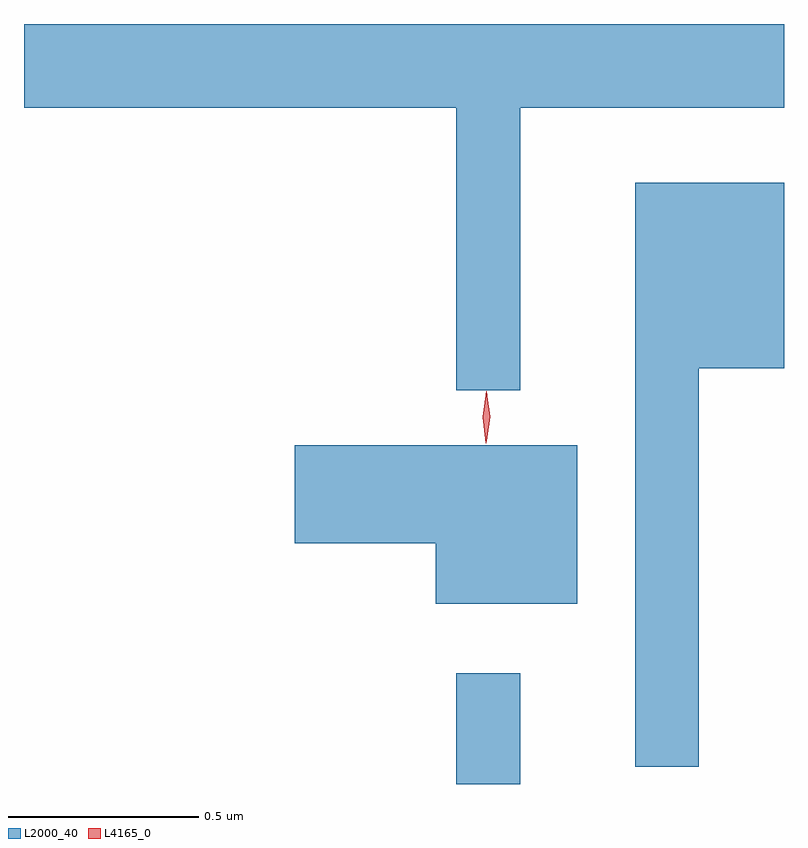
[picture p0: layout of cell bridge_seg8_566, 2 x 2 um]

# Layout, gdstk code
import gdstk
lib = gdstk.Library(unit=1e-6, precision=1e-09)
def R(c, l, rs):  # rectangles x0, y0, x1, y1
    for r in rs: c.add(gdstk.rectangle(r[:2], r[2:], *l))
def P(c, l, *ps):  # polygons
    for p in ps: c.add(gdstk.Polygon(p, *l))
L2000_40 = (2000, 40)
L4165_0 = (4165, 0)

bridge_seg8_566 = lib.new_cell('bridge_seg8_566')
R(bridge_seg8_566, L2000_40, [(449.931,1850.177,450.099,1850.468)])
P(bridge_seg8_566, L2000_40, [(450.099,1851.956),(450.793,1851.956),(450.793,1852.177),(448.793,1852.177),(448.793,1851.956),(449.931,1851.956),(449.931,1851.213),(450.099,1851.213)],
  [(450.569,1851.271),(450.793,1851.271),(450.793,1851.759),(450.401,1851.759),(450.401,1850.223),(450.569,1850.223)],
  [(450.249,1851.069),(449.506,1851.069),(449.506,1850.811),(449.876,1850.811),(449.876,1850.651),(450.249,1850.651)])
P(bridge_seg8_566, L4165_0, [(450.01,1851.08),(450.01,1851.08),(450,1851.144),(450.01,1851.206),(450.01,1851.207),(450.011,1851.206),(450.02,1851.144),(450.011,1851.08)],
  [(450.008,1851.074),(450,1851.142),(450.01,1851.21),(450.01,1851.21),(450.011,1851.21),(450.019,1851.142),(450.009,1851.074),(450.009,1851.074)])

lib.write_gds('bridge_seg8_566.gds')
